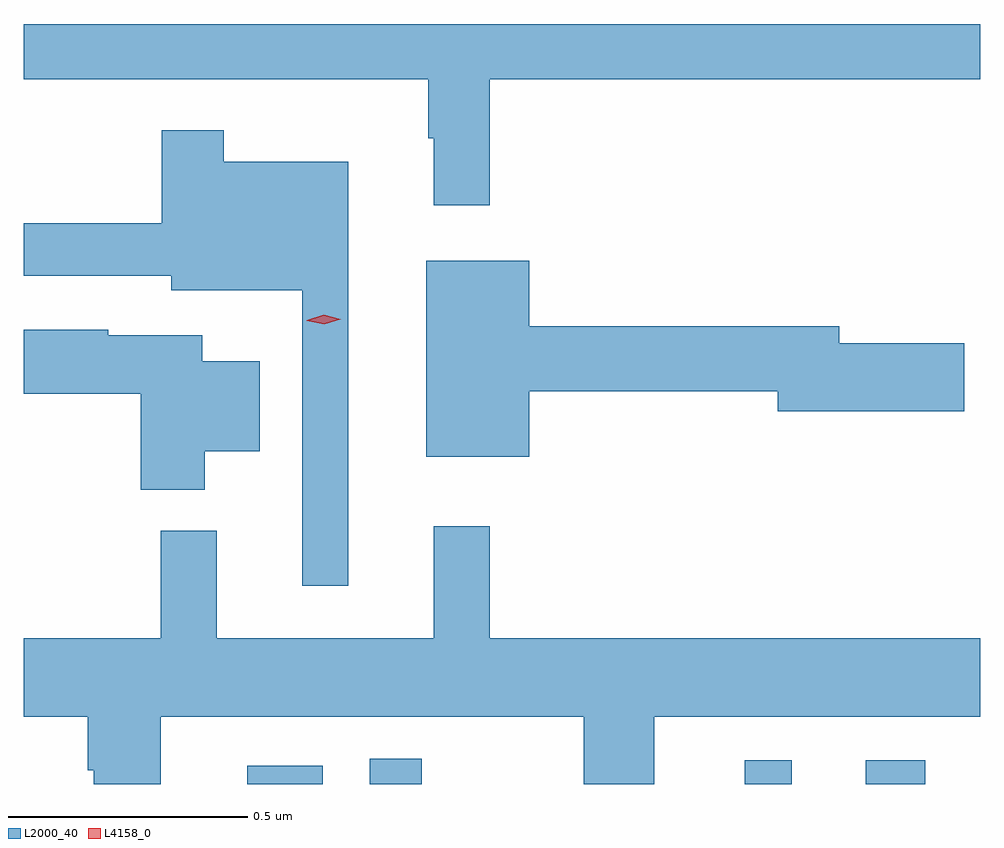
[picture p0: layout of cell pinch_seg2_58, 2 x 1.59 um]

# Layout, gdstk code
import gdstk
lib = gdstk.Library(unit=1e-6, precision=1e-09)
def R(c, l, rs):  # rectangles x0, y0, x1, y1
    for r in rs: c.add(gdstk.rectangle(r[:2], r[2:], *l))
def P(c, l, *ps):  # polygons
    for p in ps: c.add(gdstk.Polygon(p, *l))
L2000_40 = (2000, 40)
L4158_0 = (4158, 0)

pinch_seg2_58 = lib.new_cell('pinch_seg2_58')
R(pinch_seg2_58, L2000_40, [(1065.554,664.811,1065.712,664.849), (1065.81,664.811,1065.919,664.864), (1066.595,664.811,1066.693,664.861), (1066.848,664.811,1066.972,664.861)])
P(pinch_seg2_58, L2000_40, [(1066.061,666.284),(1067.087,666.284),(1067.087,666.4),(1065.087,666.4),(1065.087,666.284),(1065.933,666.284),(1065.933,666.161),(1065.944,666.161),(1065.944,666.021),(1066.061,666.021)],
  [(1065.766,666.112),(1065.505,666.112),(1065.505,666.178),(1065.376,666.178),(1065.376,665.983),(1065.087,665.983),(1065.087,665.874),(1065.395,665.874),(1065.395,665.843),(1065.669,665.843),(1065.669,665.226),(1065.766,665.226)],
  [(1066.144,665.632),(1066.664,665.632),(1066.664,665.59),(1067.053,665.59),(1067.053,665.732),(1066.792,665.732),(1066.792,665.768),(1066.144,665.768),(1066.144,665.905),(1065.929,665.905),(1065.929,665.495),(1066.144,665.495)],
  [(1065.466,665.507),(1065.58,665.507),(1065.58,665.695),(1065.46,665.695),(1065.46,665.749),(1065.264,665.749),(1065.264,665.761),(1065.087,665.761),(1065.087,665.627),(1065.332,665.627),(1065.332,665.426),(1065.466,665.426)],
  [(1065.373,664.952),(1066.258,664.952),(1066.258,664.811),(1066.405,664.811),(1066.405,664.952),(1067.087,664.952),(1067.087,665.116),(1066.061,665.116),(1066.061,665.35),(1065.944,665.35),(1065.944,665.116),(1065.491,665.116),(1065.491,665.341),(1065.373,665.341),(1065.373,665.116),(1065.087,665.116),(1065.087,664.952),(1065.221,664.952),(1065.221,664.84),(1065.233,664.84),(1065.233,664.811),(1065.373,664.811)])
P(pinch_seg2_58, L4158_0, [(1065.715,665.772),(1065.679,665.78),(1065.679,665.78),(1065.679,665.781),(1065.714,665.792),(1065.75,665.783),(1065.75,665.783),(1065.75,665.783)])

lib.write_gds('pinch_seg2_58.gds')
